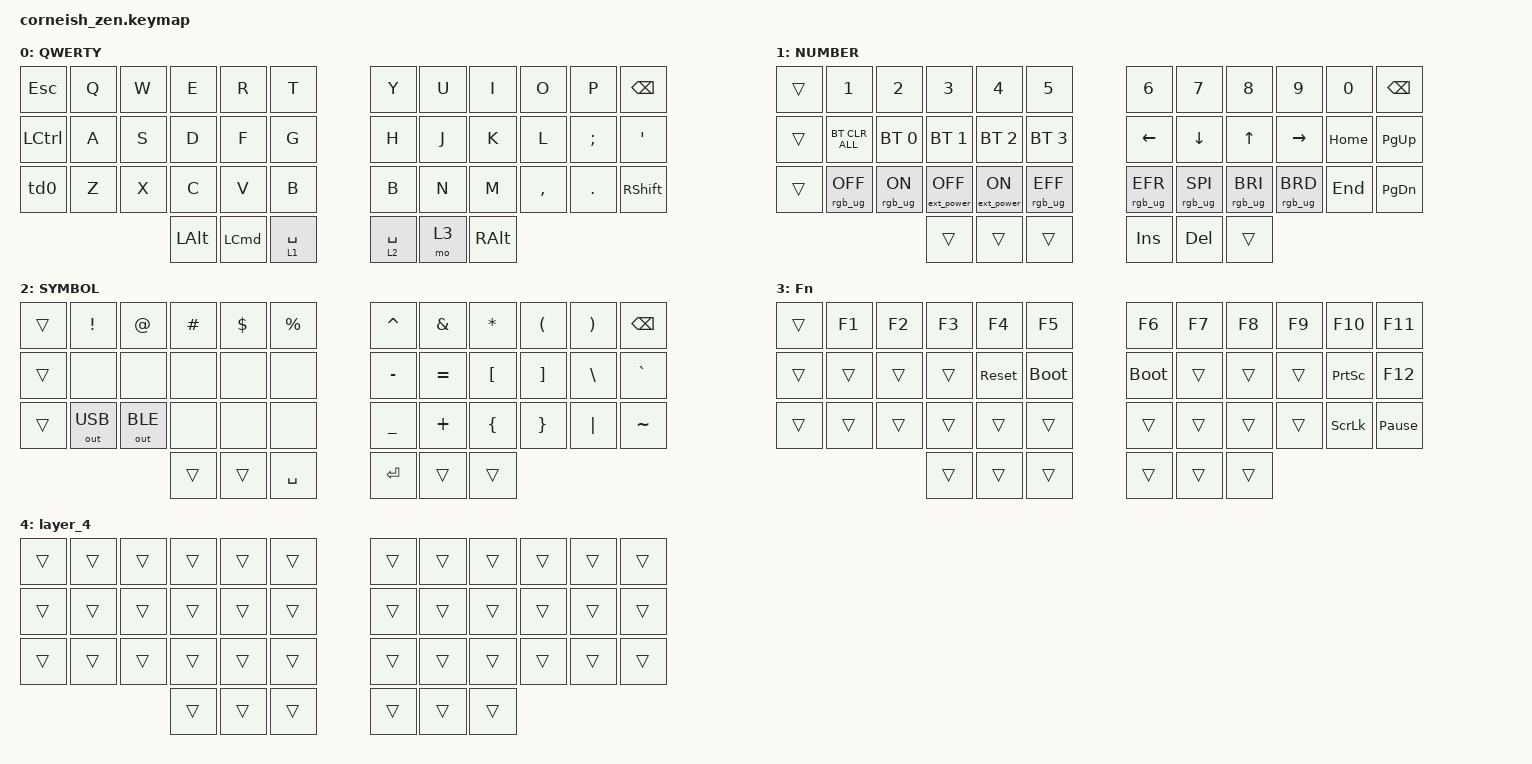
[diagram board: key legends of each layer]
/*
 * Copyright (c) 2020 The ZMK Contributors
 *
 * SPDX-License-Identifier: MIT
 */

#include <behaviors.dtsi>
#include <dt-bindings/zmk/bt.h>
#include <dt-bindings/zmk/ext_power.h>
#include <dt-bindings/zmk/keys.h>
#include <dt-bindings/zmk/outputs.h>
#include <dt-bindings/zmk/rgb.h>

/ {
    chosen {
        zmk,matrix_transform = &default_transform;

        // zmk,matrix_transform = &five_column_transform;
    };
};

/ {
    behaviors {
        td0: td0 {
            compatible = "zmk,behavior-tap-dance";
            label = "TD0";
            #binding-cells = <0>;
            bindings = <&kp LEFT_SHIFT>, <&kp CAPS>;
        };
    };

    keymap {
        compatible = "zmk,keymap";

        default_layer {
            display-name = "QWERTY";

            // --------------------------------------------------------------------------------
            // |  TAB |  Q  |  W  |  E  |  R  |  T  |   |  Y  |  U   |  I  |  O  |  P  | BKSP |
            // | CTRL |  A  |  S  |  D  |  F  |  G  |   |  H  |  J   |  K  |  L  |  ;  |  '   | 
            // | SHFT |  Z  |  X  |  C  |  V  |  B  |   |  N  |  M   |  ,  |  .  |  /  | ESC  |
            //                    | GUI | LWR | SPC |   | ENT | RSE  | ALT |

            bindings = <
&kp ESC    &kp Q  &kp W  &kp E         &kp R     &kp T          &kp Y        &kp U  &kp I     &kp O      &kp P     &kp BSPC
&kp LCTRL  &kp A  &kp S  &kp D         &kp F     &kp G          &kp H        &kp J  &kp K     &kp L      &kp SEMI  &kp SQT
&td0       &kp Z  &kp X  &kp C         &kp V     &kp B          &kp B        &kp N  &kp M     &kp COMMA  &kp DOT   &kp RSHIFT
                         &kp LEFT_ALT  &kp LCMD  &lt 1 SPACE    &lt 2 SPACE  &mo 3  &kp RALT
            >;
        };

        lower_layer {
            display-name = "NUMBER";

            // -----------------------------------------------------------------------------------------
            // |  TAB |  1  |  2  |  3  |  4  |  5  |   |  6  |  7  |  8  |  9  |  0  | BKSP |
            // | BTCLR| BT1 | BT2 | BT3 | BT4 | BT5 |   | LFT | DWN |  UP | RGT |     |      |
            // | SHFT |     |     |     |     |     |   |     |     |     |     |     |      |
            //                    | GUI |     | SPC |   | ENT |     | ALT |

            bindings = <
&trans  &kp N1           &kp N2          &kp N3             &kp N4            &kp N5             &kp N6           &kp N7           &kp N8           &kp N9           &kp N0    &kp BSPC
&trans  &bt BT_CLR_ALL   &bt BT_SEL 0    &bt BT_SEL 1       &bt BT_SEL 2      &bt BT_SEL 3       &kp LEFT         &kp DOWN         &kp UP           &kp RIGHT        &kp HOME  &kp PG_UP
&trans  &rgb_ug RGB_OFF  &rgb_ug RGB_ON  &ext_power EP_OFF  &ext_power EP_ON  &rgb_ug RGB_EFF    &rgb_ug RGB_EFR  &rgb_ug RGB_SPI  &rgb_ug RGB_BRI  &rgb_ug RGB_BRD  &kp END   &kp PG_DN
                                         &trans             &trans            &trans             &kp INS          &kp DEL          &trans
            >;
        };

        raise_layer {
            display-name = "SYMBOL";

            // -----------------------------------------------------------------------------------------
            // |  TAB |  !  |  @  |  #  |  $  |  %  |   |  ^  |  &  |  *  |  (  |  )  | BKSP |
            // | CTRL |     |     |     |     |     |   |  -  |  =  |  [  |  ]  |  \  |  `   |
            // | SHFT |     |     |     |     |     |   |  _  |  +  |  {  |  }  | "|" |  ~   |
            //                    | GUI |     | SPC |   | ENT |     | ALT |

            bindings = <
&trans  &kp EXCL      &kp AT        &kp HASH  &kp DLLR  &kp PRCNT    &kp CARET  &kp AMPS   &kp ASTRK  &kp LPAR  &kp RPAR  &kp BSPC
&trans  &none         &none         &none     &none     &none        &kp MINUS  &kp EQUAL  &kp LBKT   &kp RBKT  &kp BSLH  &kp GRAVE
&trans  &out OUT_USB  &out OUT_BLE  &none     &none     &none        &kp UNDER  &kp PLUS   &kp LBRC   &kp RBRC  &kp PIPE  &kp TILDE
                                    &trans    &trans    &kp SPACE    &kp RET    &trans     &trans
            >;
        };

        layer_3 {
            display-name = "Fn";
            bindings = <
&trans  &kp F1  &kp F2  &kp F3  &kp F4      &kp F5         &kp F6       &kp F7  &kp F8  &kp F9  &kp F10          &kp F11
&trans  &trans  &trans  &trans  &sys_reset  &bootloader    &bootloader  &trans  &trans  &trans  &kp PRINTSCREEN  &kp F12
&trans  &trans  &trans  &trans  &trans      &trans         &trans       &trans  &trans  &trans  &kp SCROLLLOCK   &kp PAUSE_BREAK
                        &trans  &trans      &trans         &trans       &trans  &trans
            >;
        };

        layer_4 {
            bindings = <
&trans  &trans  &trans  &trans  &trans  &trans    &trans  &trans  &trans  &trans  &trans  &trans
&trans  &trans  &trans  &trans  &trans  &trans    &trans  &trans  &trans  &trans  &trans  &trans
&trans  &trans  &trans  &trans  &trans  &trans    &trans  &trans  &trans  &trans  &trans  &trans
                        &trans  &trans  &trans    &trans  &trans  &trans
            >;
        };
    };
};
